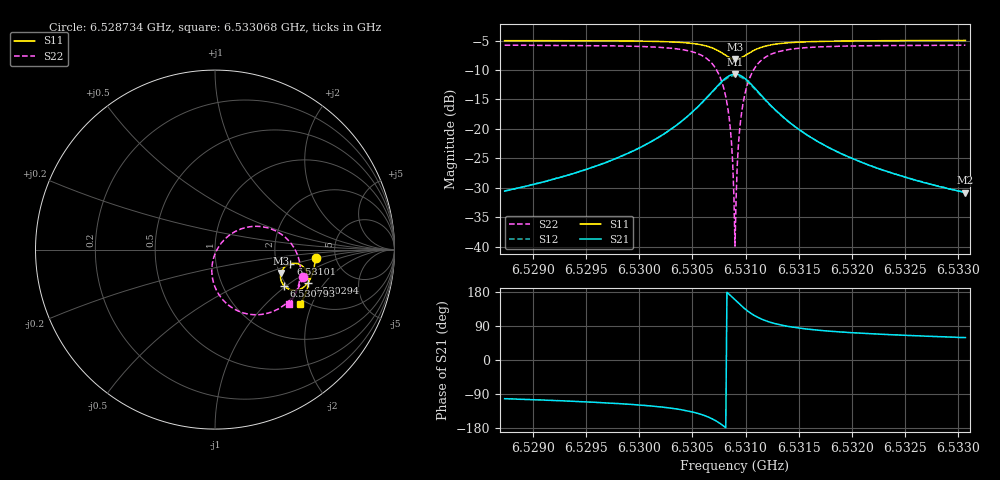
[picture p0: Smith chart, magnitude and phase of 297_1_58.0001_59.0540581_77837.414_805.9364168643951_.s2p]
#  HZ  S  RI  R  50.00
! Rohde & Schwarz Vector Network Analyzer
! Rohde-Schwarz,ZNB20-2Port,1311601062101988,3.16
! Created: UTC 3/21/2024, 1:03:37 AM
! freq[Hz]  re:S11  im:S11  re:S21  im:S21  re:S12  im:S12  re:S22  im:S22
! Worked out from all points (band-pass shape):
!   401 points, 6.528734 GHz to 6.533068 GHz, reference 50 ohm
!   highest |S21| = -10.71 dB at 6.530901 GHz (marker M1); lowest = -30.8 dB at 6.533068 GHz (marker M2)
!   |S21| within 3 dB of the highest: 6.530685 GHz to 6.531118 GHz (433.8 kHz wide, 0.00664 % of centre)
!   lowest |S11| = -8.2 dB at 6.530901 GHz (marker M3), VSWR 2.28, Z = 102 - j31.3 ohm
!   |S11| at or under -10 dB: nowhere
!   |S22| runs from -39.9 to -5.8 dB; largest |S21 - S12| = 0.011
!   S11 on the Smith chart (normalised r, x): 6.528734 GHz: 3.50, -0.46; 6.530294 GHz: 2.59, -1.39; 6.530793 GHz: 1.93, -0.96; 6.53101 GHz: 2.39, -0.46; 6.533068 GHz: 1.85, -1.65
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6.5287341e9  0.56 -0.0446  -0.0062 -0.029  -0.00679 -0.0289  0.4907 -0.1532
6.5294601e9  0.5509 -0.1044  -0.0151 -0.0413  -0.016 -0.0411  0.4615 -0.2189
6.5301861e9  0.5243 -0.1751  -0.0469 -0.0711  -0.0489 -0.0699  0.384 -0.3099
6.5302944e9  0.5155 -0.1878  -0.0594 -0.0789  -0.0615 -0.0772  0.3578 -0.3275
6.5306303e9  0.453 -0.226  -0.1552 -0.0959  -0.1573 -0.0898  0.1766 -0.3575
6.5307279e9  0.4136 -0.2214  -0.2161 -0.072  -0.2155 -0.0634  0.0738 -0.3083
6.5307929e9  0.3842 -0.2012  -0.2591 -0.0273  -0.2548 -0.0177  0.00757 -0.2255
6.530847e9  0.3674 -0.1697  -0.2807 0.0337  -0.2726 0.0413  -0.0178 -0.1211
6.5308687e9  0.3651 -0.1542  -0.2814 0.0622  -0.2722 0.0685  -0.0143 -0.074
6.5308796e9  0.3652 -0.1461  -0.2796 0.0767  -0.2701 0.0822  -0.00894 -0.0505
6.5308904e9  0.3662 -0.1382  -0.2766 0.0913  -0.2666 0.0958  -0.00125 -0.0276
6.5309012e9  0.368 -0.1302  -0.2718 0.1053  -0.2617 0.109  0.00872 -0.00505
6.5309121e9  0.3708 -0.1227  -0.2658 0.119  -0.2557 0.1217  0.0208 0.0162
6.5309229e9  0.3742 -0.1153  -0.2585 0.1318  -0.2485 0.1336  0.0348 0.0359
6.5309337e9  0.3785 -0.1085  -0.2499 0.1439  -0.2402 0.1449  0.0507 0.0541
6.5309554e9  0.3888 -0.0966  -0.2304 0.1647  -0.2213 0.1642  0.0864 0.0848
6.5310096e9  0.4201 -0.0791  -0.1733 0.1957  -0.1667 0.1929  0.1858 0.1262
6.5310854e9  0.4608 -0.0793  -0.1017 0.1982  -0.0981 0.1955  0.306 0.1174
6.5311938e9  0.4966 -0.1008  -0.0397 0.1693  -0.0381 0.1678  0.4063 0.0543
6.5316272e9  0.5212 -0.1792  0.0143 0.0823  0.0153 0.0819  0.4763 -0.1299
6.5323532e9  0.5019 -0.2515  0.0168 0.0394  0.0175 0.0392  0.4483 -0.2443
6.5330684e9  0.4746 -0.3044  0.0147 0.0247  0.0152 0.0245  0.4133 -0.3052
